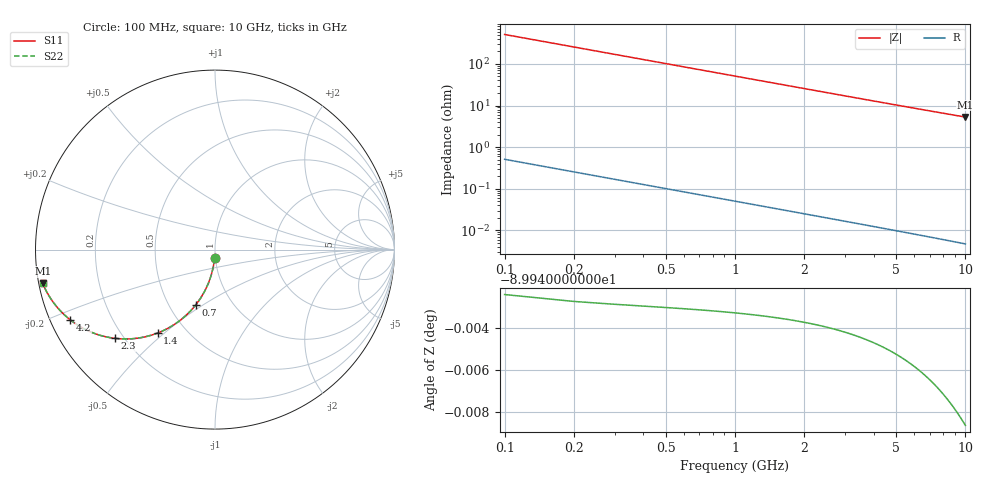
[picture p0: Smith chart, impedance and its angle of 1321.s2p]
# Hz S RI R 50.00
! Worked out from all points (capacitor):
!   100 points, 100 MHz to 10 GHz, reference 50 ohm
!   read as one part in shunt: C = 3.12 pF near 100 MHz
!   lowest |Z| = 5.3 ohm at 10 GHz (marker M1)
!   S11 on the Smith chart (normalised r, x): 100 MHz: 0.99, -0.10; 700 MHz: 0.68, -0.47; 1.4 GHz: 0.35, -0.47; 2.3 GHz: 0.17, -0.37; 4.2 GHz: 0.06, -0.23; 10 GHz: 0.01, -0.10
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1e8  -0.00243 -0.0489  0.9975 -0.049  0.9975 -0.049  -0.00243 -0.0489
2e8  -0.00962 -0.097  0.9903 -0.0973  0.9903 -0.0973  -0.00962 -0.097
3e8  -0.0213 -0.1438  0.9786 -0.1443  0.9786 -0.1443  -0.0213 -0.1438
4e8  -0.0372 -0.1886  0.9627 -0.1892  0.9627 -0.1892  -0.0372 -0.1886
5e8  -0.0569 -0.2309  0.943 -0.2316  0.943 -0.2316  -0.0569 -0.2309
6e8  -0.0799 -0.2703  0.92 -0.2712  0.92 -0.2712  -0.0799 -0.2703
7e8  -0.1057 -0.3065  0.8943 -0.3075  0.8943 -0.3075  -0.1057 -0.3065
8e8  -0.1337 -0.3392  0.8663 -0.3404  0.8663 -0.3404  -0.1337 -0.3392
1e9  -0.1941 -0.3943  0.8059 -0.3957  0.8059 -0.3957  -0.1941 -0.3943
1.2e9  -0.2573 -0.4358  0.7426 -0.4375  0.7426 -0.4375  -0.2573 -0.4358
1.4e9  -0.3203 -0.4651  0.6797 -0.4671  0.6797 -0.4671  -0.3203 -0.4651
1.6e9  -0.3808 -0.4839  0.6191 -0.4862  0.6191 -0.4862  -0.3808 -0.4839
1.8e9  -0.4375 -0.4943  0.5624 -0.4969  0.5624 -0.4969  -0.4375 -0.4943
2.3e9  -0.559 -0.4943  0.4409 -0.4977  0.4409 -0.4977  -0.559 -0.4943
2.8e9  -0.6523 -0.4737  0.3477 -0.4778  0.3477 -0.4778  -0.6523 -0.4737
3.4e9  -0.7341 -0.4388  0.2658 -0.4438  0.2658 -0.4438  -0.7341 -0.4388
4.2e9  -0.8079 -0.3904  0.1921 -0.3965  0.1921 -0.3965  -0.8079 -0.3904
5.1e9  -0.8609 -0.3418  0.139 -0.3493  0.139 -0.3493  -0.8609 -0.3418
5.8e9  -0.8888 -0.3095  0.1111 -0.3181  0.1111 -0.3181  -0.8888 -0.3095
6.7e9  -0.9143 -0.2744  0.0857 -0.2844  0.0857 -0.2844  -0.9143 -0.2744
8.4e9  -0.9437 -0.2235  0.0562 -0.2362  0.0562 -0.2362  -0.9437 -0.2235
1e10  -0.9597 -0.1884  0.0402 -0.2036  0.0402 -0.2036  -0.9597 -0.1884
